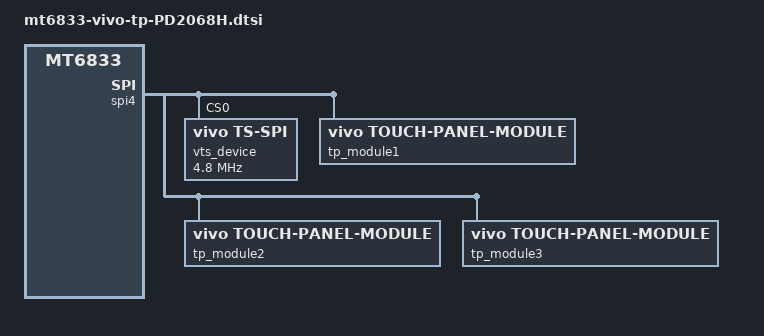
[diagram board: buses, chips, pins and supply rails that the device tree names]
&pio {
	pd2068_tp_spi_mode: clk_mode_default {
		pins_cmd_dat {
			pinmux = <PINMUX_GPIO97__FUNC_SPI4_CLK>;
			drive-strength = <0>;
		};
	};

	pd2068_tp_spi_mosi_mode: mosi_mode_default {
		pins_cmd_dat {
			pinmux = <PINMUX_GPIO13__FUNC_SPI4_MO>;
			drive-strength = <0>;
		};
	};

};


&spi4 {
	status = "okay";
	vts_device@0 {
		compatible = "vivo,ts-spi";
		status = "okay";
		reg=<0>;
		spi-max-frequency = <4800000>;

		pinctrl-names = "default";
		pinctrl-0 = <&pd2068_tp_spi_mode &pd2068_tp_spi_mosi_mode>;

		nt36672 {
			compatible = "novatek,NVT-ts-spi-v2";
			status = "ok";

			vts-type=<0>;
			vts-ic-number=<81>;
			spi-max-frequency = <9600000>;	//4800000,9600000,15000000,19200000
			novatek,reset-gpio = <&pio 186 0x00>;
			novatek,irq-gpio = <&pio 14 0x2001>;
			novatek,cs-gpio = <&pio 98 0x00>;
			novatek,miso-gpio = <&pio 12 0x00>;
			sensor-test-key="com.nttouchscreen.mptest:MainActivity:android.intent.action.novatek:0:testResult";
			lcm-noise-test-key="com.nt36xxxtouchscreen.deltadiff:MainActivity:null:null:null";
			rawdata-test-key="com.nttouchscreen.getdata:MainActivity:null:null:null";
			rf-noise-test-key="com.nt36xxxtouchscreen.deltadiff:BspTest:android.intent.action.nvtdeltadiff:0:testResult";
			
			novatek,swrst-n8-addr = <0x03F0FE>;

			//vts-incell-panel = <&dsi_nt36675_tm_fhdplus_video &dsi_ft8756_truly_fhdplus_video &dsi_nt36672c_tm657_dsc_fhdplus_video>;

		};

		hx83112 {
			compatible = "himax,hx83112-spi-v2";
			status = "ok";
			mtk,vts-vddi-poweroff;
			mtk,vts-cs-bootup;/*add for cs pull-down while boot up*/

			vts-type=<0>;
			vts-ic-number=<101>;
			spi-max-frequency = <4800000>;	//4800000,9600000,15000000,19200000
			himax,rst-gpio = <&pio 186 0x00>;
			himax,irq-gpio = <&pio 14 0x2001>;
			himax,panel-coords = <0 1080 0 2408>;
			himax,display-coords = <0 1080 0 2408>;
			himax,tx-sensors = <18>;
			himax,rx-sensors = <36>;

			sensor-test-key="com.himax.mpap:MainActivity:android.intent.action.himax:0:testResult";
			lcm-noise-test-key="com.ln2.himaxtouch:RawdataRecord.HoppingNoiseGet:null:null:null";
			rawdata-test-key="com.ln2.himaxtouch:DataShowActivity:null:null:null";
			rf-noise-test-key="com.ln2.himaxtouch:BspTestActivity:android.intent.action.himax:0:testResult";
		};

		ft8719 {
			compatible = "focaltech,ft8719_v2";
			status = "okay";

			vts-type=<0>;
			vts-ic-number=<36>;
			spi-max-frequency = <6000000>;	//4800000,9600000,15000000,19200000
			focaltech,reset-gpio = <&pio 186 0x00>;
			focaltech,irq-gpio = <&pio 14 0x02>;
			//focaltech,cs-gpio = <&pio 21 0x00>;
			focaltech,max-touch-number = <10>;
			focaltech,display-coords = <0 0 1080 2408>;

			sensor-test-key="com.focaltouchscreen.sensortest:MainActivity:com.focaltouchscreen.sensortest:0:focal_test_result";
			lcm-noise-test-key="com.focaltech.deltadiff:MainActivity:null:null:null";
			rawdata-test-key="com.focaltech.deltadiff:DataActivity:null:null:null";
			rf-noise-test-key="com.focaltech.deltadiff:BspTestActivity:com.focaltech.deltadiff:0:testResult";
		};
	};


	tp_module1 {
		compatible = "vivo,touch-panel-module";
		vts-ic-number=<101>;
		vts-type=<0>;
		vts-lcmid=<49>;     //hx83112f+boe
		vts-dimention-x=<1080>;
		vts-dimention-y=<2408>;
		vts-tx-sensors=<18>;
		vts-rx-sensors=<36>;
		vts-incell=<1>;
		vts-gesture=<1>;
		vts-need-caliberation=<0>;
		vts-virtual-proximinity=<0>;
		vts-long-press=<0>;
		vts-module-vendor=<0xC0>;
		vts-no-flash=<1>;
		vts-game-mode=<1>;
		vts-game-idle-time=<10>;
	};

	tp_module2 {
		compatible = "vivo,touch-panel-module";
		vts-ic-number=<36>;
		vts-type=<0>;
		vts-lcmid=<65>;		//1211710  ft8719+jd
		vts-dimention-x=<1080>;
		vts-dimention-y=<2408>;
		vts-tx-sensors=<16>;
		vts-rx-sensors=<36>;
		vts-gesture=<1>;
		vts-incell=<1>;
		vts-need-caliberation=<0>;
		vts-virtual-proximinity=<0>;
		vts-long-press=<0>;
		vts-module-vendor=<0xF0>;
		vts-no-flash=<1>;
		vts-game-mode=<1>;
		vts-game-idle-time=<10>;
		vts-report-timestamp=<1>;
	};

	tp_module3 {
		compatible = "vivo,touch-panel-module";
		vts-ic-number=<81>;
		vts-type=<0>;
		vts-lcmid=<16>;         //1211724  nt36672c+tm
		vts-dimention-x=<1080>;
		vts-dimention-y=<2408>;
		vts-tx-sensors=<18>;
		vts-rx-sensors=<32>;
		vts-incell=<1>;
		vts-need-caliberation=<0>;
		vts-virtual-proximinity=<0>;
		vts-long-press=<0>;
		vts-module-vendor=<0xF0>;
		vts-no-flash=<1>;
		vts-game-mode=<1>;
		vts-game-idle-time=<10>;
		vts-report-timestamp=<1>;
	};
	

	
	

};
